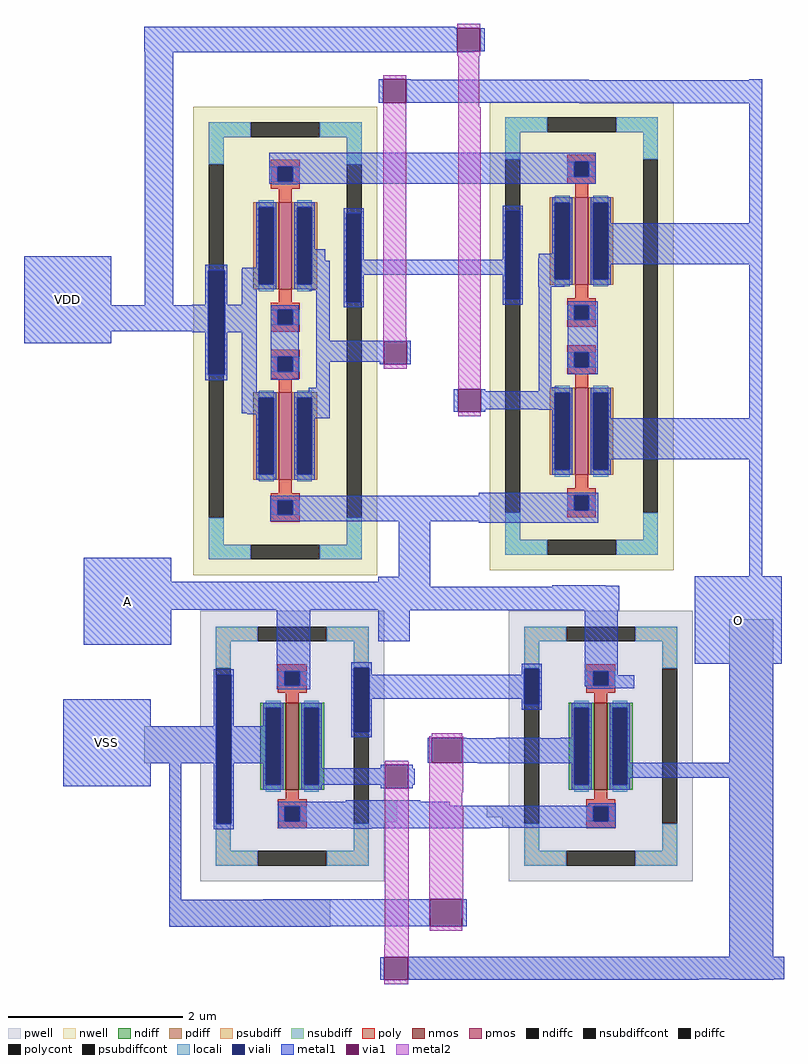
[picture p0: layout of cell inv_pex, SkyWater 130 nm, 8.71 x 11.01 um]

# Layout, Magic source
magic
tech sky130A
magscale 1 2
<< nwell >>
rect 792 492 1214 1566
rect 1471 503 1893 1577
<< pwell >>
rect 808 146 1230 410
rect 680 61 1230 146
rect 737 -252 765 61
rect 808 -24 1230 61
rect 1515 62 1937 410
rect 2020 62 2121 391
rect 1515 27 2121 62
rect 808 -75 1259 -24
rect 1515 -37 1937 27
rect 1465 -63 1937 -37
rect 808 -210 1230 -75
rect 1500 -84 1937 -63
rect 1515 -210 1937 -84
rect 737 -314 1106 -252
rect 2020 -383 2121 27
rect 1281 -434 2146 -383
rect 1281 -436 1951 -434
rect 2020 -436 2121 -434
<< nmos >>
rect 1004 0 1034 200
rect 1711 0 1741 200
<< pmos >>
rect 988 1147 1018 1347
rect 988 711 1018 911
rect 1667 1158 1697 1358
rect 1667 722 1697 922
<< ndiff >>
rect 946 188 1004 200
rect 946 12 958 188
rect 992 12 1004 188
rect 946 0 1004 12
rect 1034 188 1092 200
rect 1034 12 1046 188
rect 1080 12 1092 188
rect 1034 0 1092 12
rect 1653 188 1711 200
rect 1653 12 1665 188
rect 1699 12 1711 188
rect 1653 0 1711 12
rect 1741 188 1799 200
rect 1741 12 1753 188
rect 1787 12 1799 188
rect 1741 0 1799 12
<< pdiff >>
rect 930 1335 988 1347
rect 930 1159 942 1335
rect 976 1159 988 1335
rect 930 1147 988 1159
rect 1018 1335 1076 1347
rect 1018 1159 1030 1335
rect 1064 1159 1076 1335
rect 1018 1147 1076 1159
rect 930 899 988 911
rect 930 723 942 899
rect 976 723 988 899
rect 930 711 988 723
rect 1018 899 1076 911
rect 1018 723 1030 899
rect 1064 723 1076 899
rect 1018 711 1076 723
rect 1609 1346 1667 1358
rect 1609 1170 1621 1346
rect 1655 1170 1667 1346
rect 1609 1158 1667 1170
rect 1697 1346 1755 1358
rect 1697 1170 1709 1346
rect 1743 1170 1755 1346
rect 1697 1158 1755 1170
rect 1609 910 1667 922
rect 1609 734 1621 910
rect 1655 734 1667 910
rect 1609 722 1667 734
rect 1697 910 1755 922
rect 1697 734 1709 910
rect 1743 734 1755 910
rect 1697 722 1755 734
<< ndiffc >>
rect 958 12 992 188
rect 1046 12 1080 188
rect 1665 12 1699 188
rect 1753 12 1787 188
<< pdiffc >>
rect 942 1159 976 1335
rect 1030 1159 1064 1335
rect 942 723 976 899
rect 1030 723 1064 899
rect 1621 1170 1655 1346
rect 1709 1170 1743 1346
rect 1621 734 1655 910
rect 1709 734 1743 910
<< psubdiff >>
rect 844 340 940 374
rect 1098 340 1194 374
rect 844 278 878 340
rect 1160 278 1194 340
rect 844 -140 878 -78
rect 1160 -140 1194 -78
rect 844 -174 940 -140
rect 1098 -174 1194 -140
rect 1551 340 1647 374
rect 1805 340 1901 374
rect 1551 278 1585 340
rect 1867 278 1901 340
rect 1551 -140 1585 -78
rect 1867 -140 1901 -78
rect 1551 -174 1647 -140
rect 1805 -174 1901 -140
<< nsubdiff >>
rect 828 1496 924 1530
rect 1082 1496 1178 1530
rect 828 1434 862 1496
rect 1144 1434 1178 1496
rect 828 562 862 624
rect 1144 562 1178 624
rect 828 528 924 562
rect 1082 528 1178 562
rect 1507 1507 1603 1541
rect 1761 1507 1857 1541
rect 1507 1445 1541 1507
rect 1823 1445 1857 1507
rect 1507 573 1541 635
rect 1823 573 1857 635
rect 1507 539 1603 573
rect 1761 539 1857 573
<< psubdiffcont >>
rect 940 340 1098 374
rect 844 -78 878 278
rect 1160 -78 1194 278
rect 940 -174 1098 -140
rect 1647 340 1805 374
rect 1551 -78 1585 278
rect 1867 -78 1901 278
rect 1647 -174 1805 -140
<< nsubdiffcont >>
rect 924 1496 1082 1530
rect 828 624 862 1434
rect 1144 624 1178 1434
rect 924 528 1082 562
rect 1603 1507 1761 1541
rect 1507 635 1541 1445
rect 1823 635 1857 1445
rect 1603 539 1761 573
<< poly >>
rect 970 1428 1036 1444
rect 970 1394 986 1428
rect 1020 1394 1036 1428
rect 970 1378 1036 1394
rect 988 1347 1018 1378
rect 988 1116 1018 1147
rect 970 1100 1036 1116
rect 970 1066 986 1100
rect 1020 1066 1036 1100
rect 970 1050 1036 1066
rect 970 992 1036 1008
rect 970 958 986 992
rect 1020 958 1036 992
rect 970 942 1036 958
rect 988 911 1018 942
rect 988 680 1018 711
rect 970 664 1036 680
rect 970 630 986 664
rect 1020 630 1036 664
rect 970 614 1036 630
rect 1649 1439 1715 1455
rect 1649 1405 1665 1439
rect 1699 1405 1715 1439
rect 1649 1389 1715 1405
rect 1667 1358 1697 1389
rect 1667 1127 1697 1158
rect 1649 1111 1715 1127
rect 1649 1077 1665 1111
rect 1699 1077 1715 1111
rect 1649 1061 1715 1077
rect 1649 1003 1715 1019
rect 1649 969 1665 1003
rect 1699 969 1715 1003
rect 1649 953 1715 969
rect 1667 922 1697 953
rect 1667 691 1697 722
rect 1649 675 1715 691
rect 1649 641 1665 675
rect 1699 641 1715 675
rect 1649 625 1715 641
rect 986 272 1052 288
rect 986 238 1002 272
rect 1036 238 1052 272
rect 986 222 1052 238
rect 1004 200 1034 222
rect 1004 -22 1034 0
rect 986 -38 1052 -22
rect 986 -72 1002 -38
rect 1036 -72 1052 -38
rect 986 -88 1052 -72
rect 1693 272 1759 288
rect 1693 238 1709 272
rect 1743 238 1759 272
rect 1693 222 1759 238
rect 1711 200 1741 222
rect 1711 -22 1741 0
rect 1693 -38 1759 -22
rect 1693 -72 1709 -38
rect 1743 -72 1759 -38
rect 1693 -88 1759 -72
<< polycont >>
rect 986 1394 1020 1428
rect 986 1066 1020 1100
rect 986 958 1020 992
rect 986 630 1020 664
rect 1665 1405 1699 1439
rect 1665 1077 1699 1111
rect 1665 969 1699 1003
rect 1665 641 1699 675
rect 1002 238 1036 272
rect 1002 -72 1036 -38
rect 1709 238 1743 272
rect 1709 -72 1743 -38
<< locali >>
rect 828 1496 924 1530
rect 1082 1496 1178 1530
rect 828 1434 862 1496
rect 1144 1434 1178 1496
rect 970 1394 986 1428
rect 1020 1394 1036 1428
rect 942 1335 976 1351
rect 942 1143 976 1159
rect 1030 1335 1064 1351
rect 1030 1143 1064 1159
rect 970 1066 986 1100
rect 1020 1066 1036 1100
rect 970 958 986 992
rect 1020 958 1036 992
rect 942 899 976 915
rect 942 707 976 723
rect 1030 899 1064 915
rect 1030 707 1064 723
rect 970 630 986 664
rect 1020 630 1036 664
rect 828 562 862 624
rect 1144 562 1178 624
rect 828 528 924 562
rect 1082 528 1178 562
rect 1507 1507 1603 1541
rect 1761 1507 1857 1541
rect 1507 1445 1541 1507
rect 1823 1445 1857 1507
rect 1649 1405 1665 1439
rect 1699 1405 1715 1439
rect 1621 1346 1655 1362
rect 1621 1154 1655 1170
rect 1709 1346 1743 1362
rect 1709 1154 1743 1170
rect 1649 1077 1665 1111
rect 1699 1077 1715 1111
rect 1649 969 1665 1003
rect 1699 969 1715 1003
rect 1621 910 1655 926
rect 1621 718 1655 734
rect 1709 910 1743 926
rect 1709 718 1743 734
rect 1649 641 1665 675
rect 1699 641 1715 675
rect 1507 573 1541 635
rect 1823 573 1857 635
rect 1507 539 1603 573
rect 1761 539 1857 573
rect 844 340 940 374
rect 1098 340 1194 374
rect 844 278 878 340
rect 1160 280 1194 340
rect 1551 340 1647 374
rect 1805 340 1901 374
rect 986 238 1002 272
rect 1036 238 1052 272
rect 958 188 992 204
rect 958 -4 992 12
rect 1046 188 1080 204
rect 1046 -4 1080 12
rect 1551 278 1585 340
rect 1867 278 1901 340
rect 1693 238 1709 272
rect 1743 238 1759 272
rect 986 -72 1002 -38
rect 1036 -72 1052 -38
rect 844 -140 878 -78
rect 1160 -140 1194 -78
rect 844 -174 940 -140
rect 1098 -174 1194 -140
rect 1665 188 1699 204
rect 1665 -4 1699 12
rect 1753 188 1787 204
rect 1753 -4 1787 12
rect 1693 -72 1709 -38
rect 1743 -72 1759 -38
rect 1551 -140 1585 -78
rect 1867 -140 1901 -78
rect 1551 -174 1647 -140
rect 1805 -174 1901 -140
<< viali >>
rect 986 1394 1020 1428
rect 826 951 828 1191
rect 828 951 862 1191
rect 862 951 864 1191
rect 942 1159 976 1335
rect 1030 1159 1064 1335
rect 1143 1118 1144 1321
rect 1144 1118 1177 1321
rect 986 1066 1020 1100
rect 986 958 1020 992
rect 942 723 976 899
rect 1030 723 1064 899
rect 986 630 1020 664
rect 1665 1405 1699 1439
rect 1507 1124 1541 1327
rect 1621 1170 1655 1346
rect 1709 1170 1743 1346
rect 1665 1077 1699 1111
rect 1665 969 1699 1003
rect 1621 734 1655 910
rect 1709 734 1743 910
rect 1665 641 1699 675
rect 1160 278 1195 280
rect 845 -78 878 264
rect 878 -78 879 264
rect 1002 238 1036 272
rect 958 12 992 188
rect 1046 12 1080 188
rect 1160 132 1194 278
rect 1194 132 1195 278
rect 1551 195 1585 277
rect 1709 238 1743 272
rect 1002 -72 1036 -38
rect 1665 12 1699 188
rect 1753 12 1787 188
rect 1709 -72 1743 -38
<< metal1 >>
rect 680 1747 1393 1749
rect 680 1746 1436 1747
rect 680 1693 1397 1746
rect 1450 1693 1460 1746
rect 681 1691 1436 1693
rect 404 1111 604 1223
rect 681 1111 746 1691
rect 1217 1575 1227 1628
rect 1280 1627 1290 1628
rect 1280 1626 1698 1627
rect 2066 1626 2096 1628
rect 1280 1575 2096 1626
rect 1677 1574 2096 1575
rect 966 1439 1714 1460
rect 966 1428 1665 1439
rect 966 1394 986 1428
rect 1020 1405 1665 1428
rect 1699 1405 1714 1439
rect 1020 1394 1714 1405
rect 966 1389 1714 1394
rect 974 1388 1032 1389
rect 936 1335 982 1347
rect 820 1191 870 1203
rect 936 1196 942 1335
rect 904 1193 942 1196
rect 820 1112 826 1191
rect 790 1111 826 1112
rect 404 1051 826 1111
rect 404 1023 604 1051
rect 790 1049 826 1051
rect 820 951 826 1049
rect 864 1112 870 1191
rect 903 1159 942 1193
rect 976 1159 982 1335
rect 903 1147 982 1159
rect 1024 1335 1070 1347
rect 1615 1346 1661 1358
rect 1024 1159 1030 1335
rect 1064 1239 1070 1335
rect 1137 1321 1183 1333
rect 1064 1213 1095 1239
rect 1064 1159 1105 1213
rect 1024 1147 1105 1159
rect 903 1112 938 1147
rect 1058 1145 1105 1147
rect 864 1049 938 1112
rect 864 951 870 1049
rect 820 939 870 951
rect 903 911 938 1049
rect 970 1100 1034 1110
rect 970 1066 986 1100
rect 1020 1066 1034 1100
rect 970 992 1034 1066
rect 970 958 986 992
rect 1020 958 1034 992
rect 970 940 1034 958
rect 1074 1029 1105 1145
rect 1137 1118 1143 1321
rect 1177 1215 1183 1321
rect 1501 1327 1547 1339
rect 1501 1215 1507 1327
rect 1177 1181 1507 1215
rect 1177 1118 1183 1181
rect 1137 1106 1183 1118
rect 1501 1124 1507 1181
rect 1541 1124 1547 1327
rect 1615 1229 1621 1346
rect 1584 1218 1621 1229
rect 1583 1170 1621 1218
rect 1655 1170 1661 1346
rect 1583 1158 1661 1170
rect 1703 1346 1749 1358
rect 1703 1170 1709 1346
rect 1743 1298 1749 1346
rect 2066 1298 2096 1574
rect 1743 1205 2096 1298
rect 1743 1170 1749 1205
rect 1703 1158 1749 1170
rect 1583 1153 1642 1158
rect 1501 1112 1547 1124
rect 1074 1027 1290 1029
rect 1074 981 1229 1027
rect 1074 922 1105 981
rect 1219 975 1229 981
rect 1281 975 1291 1027
rect 1057 911 1105 922
rect 1584 923 1612 1153
rect 1650 1111 1719 1120
rect 1650 1077 1665 1111
rect 1699 1077 1719 1111
rect 1650 1003 1719 1077
rect 1650 969 1665 1003
rect 1699 969 1719 1003
rect 1650 952 1719 969
rect 1584 922 1630 923
rect 903 899 982 911
rect 903 863 942 899
rect 916 861 942 863
rect 936 723 942 861
rect 976 723 982 899
rect 936 711 982 723
rect 1024 899 1105 911
rect 1024 723 1030 899
rect 1064 852 1105 899
rect 1389 866 1399 918
rect 1451 914 1461 918
rect 1584 914 1661 922
rect 1451 910 1661 914
rect 1451 872 1621 910
rect 1451 866 1461 872
rect 1584 871 1621 872
rect 1064 723 1070 852
rect 1024 711 1070 723
rect 1615 734 1621 871
rect 1655 734 1661 910
rect 1615 722 1661 734
rect 1703 910 1749 922
rect 1703 734 1709 910
rect 1743 851 1749 910
rect 2066 851 2096 1205
rect 1743 758 2096 851
rect 1743 734 1749 758
rect 1703 722 1749 734
rect 1446 675 1720 681
rect 1446 674 1665 675
rect 968 664 1665 674
rect 968 630 986 664
rect 1020 641 1665 664
rect 1699 641 1720 675
rect 1020 630 1720 641
rect 968 616 1720 630
rect 541 477 741 532
rect 1263 488 1335 616
rect 1446 612 1720 616
rect 2066 489 2096 758
rect 1216 477 1335 488
rect 541 465 1335 477
rect 1615 468 1738 469
rect 1615 465 1768 468
rect 541 413 1768 465
rect 541 332 741 413
rect 839 264 885 276
rect 494 146 694 208
rect 839 146 845 264
rect 494 61 845 146
rect 494 8 694 61
rect 737 -252 765 61
rect 839 -78 845 61
rect 879 146 885 264
rect 983 272 1060 413
rect 1216 412 1768 413
rect 1216 340 1288 412
rect 1645 411 1768 412
rect 983 238 1002 272
rect 1036 238 1060 272
rect 983 230 1060 238
rect 1154 280 1201 292
rect 952 188 998 200
rect 952 146 958 188
rect 879 61 958 146
rect 879 -78 885 61
rect 952 12 958 61
rect 992 12 998 188
rect 952 0 998 12
rect 1040 188 1086 200
rect 1040 12 1046 188
rect 1080 49 1086 188
rect 1154 132 1160 280
rect 1195 264 1201 280
rect 1545 277 1591 289
rect 1545 264 1551 277
rect 1195 209 1551 264
rect 1195 132 1201 209
rect 1545 195 1551 209
rect 1585 195 1591 277
rect 1689 272 1765 411
rect 1941 289 2141 489
rect 1689 238 1709 272
rect 1743 263 1765 272
rect 1743 238 1803 263
rect 1689 237 1803 238
rect 1693 233 1803 237
rect 1697 232 1755 233
rect 1545 183 1591 195
rect 1659 188 1705 200
rect 1154 120 1201 132
rect 1659 119 1665 188
rect 1329 62 1339 119
rect 1408 118 1418 119
rect 1486 118 1589 119
rect 1634 118 1665 119
rect 1408 62 1665 118
rect 1444 61 1665 62
rect 1222 49 1232 57
rect 1080 12 1232 49
rect 1040 11 1232 12
rect 1040 0 1086 11
rect 1222 4 1232 11
rect 1285 48 1295 57
rect 1285 12 1300 48
rect 1659 12 1665 61
rect 1699 12 1705 188
rect 1285 4 1295 12
rect 1659 0 1705 12
rect 1747 188 1793 200
rect 1747 12 1753 188
rect 1787 62 1793 188
rect 2020 62 2121 289
rect 1787 27 2121 62
rect 1787 12 1793 27
rect 1747 0 1793 12
rect 1142 -28 1312 -24
rect 839 -90 885 -78
rect 987 -37 1380 -28
rect 1699 -32 1760 -31
rect 1697 -37 1760 -32
rect 987 -38 1760 -37
rect 987 -72 1002 -38
rect 1036 -72 1709 -38
rect 1743 -72 1760 -38
rect 987 -87 1760 -72
rect 987 -88 1473 -87
rect 1154 -89 1201 -88
rect 952 -252 1334 -251
rect 737 -313 1334 -252
rect 1408 -313 1419 -251
rect 737 -314 1106 -313
rect 2020 -383 2121 27
rect 1281 -384 2146 -383
rect 1220 -436 1230 -384
rect 1285 -434 2146 -384
rect 1285 -436 1951 -434
rect 2020 -436 2121 -434
<< via1 >>
rect 1397 1693 1450 1746
rect 1227 1575 1280 1628
rect 1229 975 1281 1027
rect 1399 866 1451 918
rect 1339 62 1408 119
rect 1232 4 1285 57
rect 1334 -313 1408 -251
rect 1230 -436 1285 -384
<< metal2 >>
rect 1397 1746 1450 1756
rect 1397 1683 1450 1693
rect 1227 1628 1280 1638
rect 1227 1565 1280 1575
rect 1228 1037 1280 1565
rect 1399 1564 1448 1683
rect 1228 1027 1281 1037
rect 1228 982 1229 1027
rect 1229 965 1281 975
rect 1399 918 1451 1564
rect 1399 856 1451 866
rect 1339 123 1408 129
rect 1333 119 1411 123
rect 1232 63 1285 67
rect 1231 57 1286 63
rect 1231 4 1232 57
rect 1285 4 1286 57
rect 1231 -356 1286 4
rect 1333 62 1339 119
rect 1408 62 1411 119
rect 1333 -6 1411 62
rect 1333 -37 1409 -6
rect 1333 -251 1411 -37
rect 1333 -294 1334 -251
rect 1408 -294 1411 -251
rect 1334 -323 1408 -313
rect 1230 -384 1286 -356
rect 1285 -404 1286 -384
rect 1230 -446 1285 -436
<< labels >>
flabel metal1 541 332 741 532 0 FreeSans 256 0 0 0 A
port 0 nsew
flabel metal1 404 1023 604 1223 0 FreeSans 256 0 0 0 VDD
port 1 nsew
flabel metal1 1941 289 2141 489 0 FreeSans 256 0 0 0 O
port 2 nsew
flabel metal1 494 8 694 208 0 FreeSans 256 0 0 0 VSS
port 3 nsew
<< end >>
